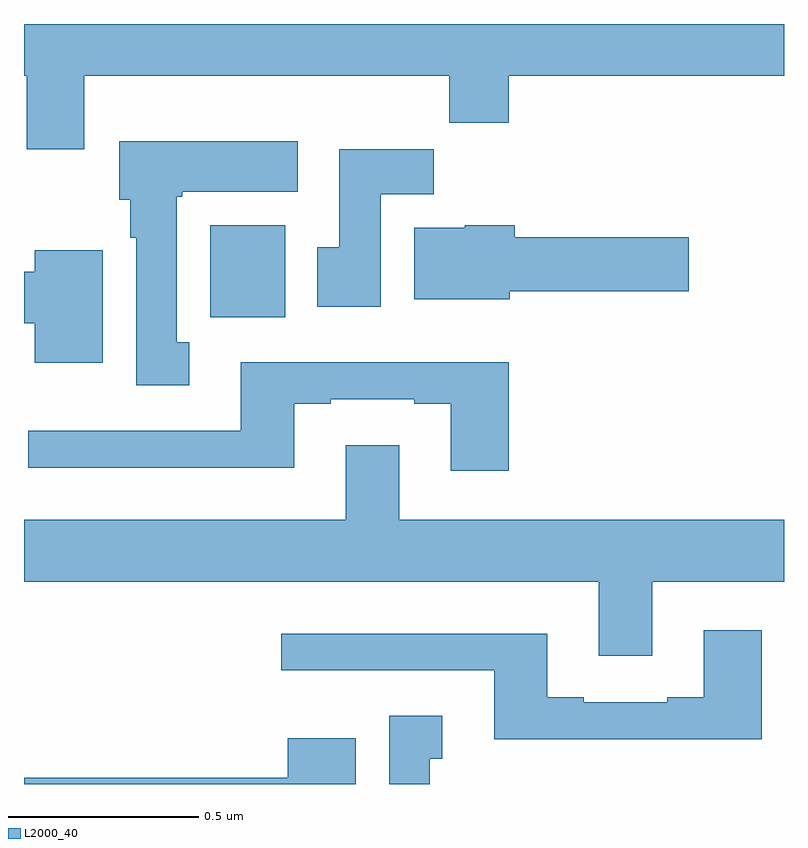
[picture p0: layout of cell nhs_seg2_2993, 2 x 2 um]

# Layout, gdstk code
import gdstk
lib = gdstk.Library(unit=1e-6, precision=1e-09)
def R(c, l, rs):  # rectangles x0, y0, x1, y1
    for r in rs: c.add(gdstk.rectangle(r[:2], r[2:], *l))
def P(c, l, *ps):  # polygons
    for p in ps: c.add(gdstk.Polygon(p, *l))
L2000_40 = (2000, 40)

nhs_seg2_2993 = lib.new_cell('nhs_seg2_2993')
R(nhs_seg2_2993, L2000_40, [(148.49,619.028,148.687,619.27)])
P(nhs_seg2_2993, L2000_40, [(148.159,619.664),(149.119,619.664),(149.119,619.54),(149.276,619.54),(149.276,619.664),(150,619.664),(150,619.8),(148,619.8),(148,619.664),(148.007,619.664),(148.007,619.47),(148.159,619.47)],
  [(148.435,618.962),(148.402,618.962),(148.402,619.345),(148.416,619.345),(148.416,619.358),(148.72,619.358),(148.72,619.492),(148.25,619.492),(148.25,619.338),(148.28,619.338),(148.28,619.238),(148.295,619.238),(148.295,618.849),(148.435,618.849)],
  [(148.939,619.352),(149.078,619.352),(149.078,619.471),(148.829,619.471),(148.829,619.212),(148.772,619.212),(148.772,619.056),(148.939,619.056)],
  [(149.278,619.097),(149.749,619.097),(149.749,619.239),(149.291,619.239),(149.291,619.27),(149.16,619.27),(149.16,619.264),(149.027,619.264),(149.027,619.076),(149.278,619.076)],
  [(148.207,619.204),(148.028,619.204),(148.028,619.148),(148,619.148),(148,619.012),(148.028,619.012),(148.028,618.908),(148.207,618.908)],
  [(149.276,618.91),(148.571,618.91),(148.571,618.729),(148.011,618.729),(148.011,618.632),(148.711,618.632),(148.711,618.801),(148.807,618.801),(148.807,618.813),(149.027,618.813),(149.027,618.801),(149.123,618.801),(149.123,618.624),(149.276,618.624)],
  [(149.653,618.332),(150,618.332),(150,618.496),(148.987,618.496),(148.987,618.691),(148.847,618.691),(148.847,618.496),(148,618.496),(148,618.332),(149.513,618.332),(149.513,618.138),(149.653,618.138)],
  [(149.942,618.205),(149.789,618.205),(149.789,618.028),(149.693,618.028),(149.693,618.015),(149.473,618.015),(149.473,618.028),(149.377,618.028),(149.377,618.196),(148.677,618.196),(148.677,618.099),(149.237,618.099),(149.237,617.918),(149.942,617.918)],
  [(149.068,617.867),(149.101,617.867),(149.101,617.98),(148.961,617.98),(148.961,617.8),(149.068,617.8)],
  [(148.873,617.92),(148.694,617.92),(148.694,617.816),(148,617.816),(148,617.8),(148.873,617.8)])

lib.write_gds('nhs_seg2_2993.gds')
